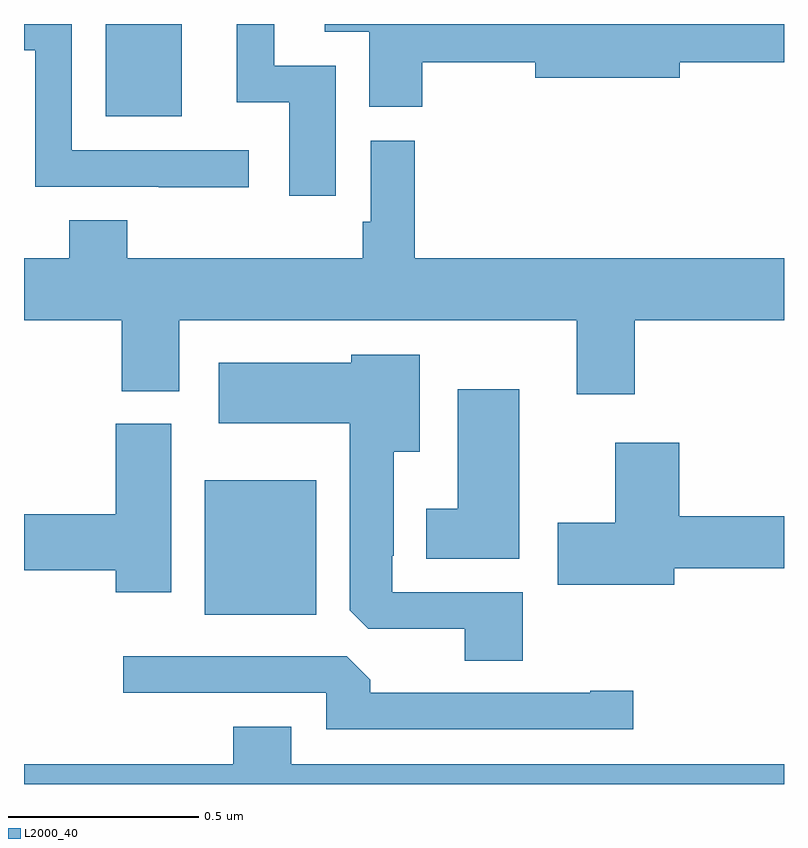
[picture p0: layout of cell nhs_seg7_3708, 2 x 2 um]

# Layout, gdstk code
import gdstk
lib = gdstk.Library(unit=1e-6, precision=1e-09)
def R(c, l, rs):  # rectangles x0, y0, x1, y1
    for r in rs: c.add(gdstk.rectangle(r[:2], r[2:], *l))
def P(c, l, *ps):  # polygons
    for p in ps: c.add(gdstk.Polygon(p, *l))
L2000_40 = (2000, 40)

nhs_seg7_3708 = lib.new_cell('nhs_seg7_3708')
R(nhs_seg7_3708, L2000_40, [(162.476,1062.446,162.769,1062.799), (162.215,1063.757,162.415,1064)])
P(nhs_seg7_3708, L2000_40, [(162.82,1063.89),(162.658,1063.89),(162.658,1064),(162.56,1064),(162.56,1063.794),(162.698,1063.794),(162.698,1063.548),(162.82,1063.548)],
  [(162.592,1063.668),(162.126,1063.668),(162.126,1064),(162,1064),(162,1063.931),(162.03,1063.931),(162.03,1063.572),(162.355,1063.572),(162.355,1063.571),(162.592,1063.571)],
  [(163.048,1063.9),(163.346,1063.9),(163.346,1063.858),(163.726,1063.858),(163.726,1063.9),(164,1063.9),(164,1064),(162.791,1064),(162.791,1063.979),(162.908,1063.979),(162.908,1063.782),(163.048,1063.782)],
  [(163.607,1063.22),(164,1063.22),(164,1063.384),(163.028,1063.384),(163.028,1063.693),(162.912,1063.693),(162.912,1063.48),(162.892,1063.48),(162.892,1063.384),(162.272,1063.384),(162.272,1063.483),(162.119,1063.483),(162.119,1063.384),(162,1063.384),(162,1063.22),(162.257,1063.22),(162.257,1063.033),(162.409,1063.033),(162.409,1063.22),(163.454,1063.22),(163.454,1063.026),(163.607,1063.026)],
  [(163.313,1062.504),(162.969,1062.504),(162.969,1062.601),(162.973,1062.601),(162.973,1062.875),(163.042,1062.875),(163.042,1063.129),(162.861,1063.129),(162.861,1063.108),(162.513,1063.108),(162.513,1062.95),(162.857,1062.95),(162.857,1062.457),(162.906,1062.408),(163.16,1062.408),(163.16,1062.325),(163.313,1062.325)],
  [(163.303,1063.039),(163.142,1063.039),(163.142,1062.724),(163.058,1062.724),(163.058,1062.593),(163.303,1062.593)],
  [(162.388,1062.948),(162.242,1062.948),(162.242,1062.71),(162,1062.71),(162,1062.563),(162.242,1062.563),(162.242,1062.504),(162.388,1062.504)],
  [(163.711,1062.568),(164,1062.568),(164,1062.704),(163.724,1062.704),(163.724,1062.898),(163.556,1062.898),(163.556,1062.687),(163.404,1062.687),(163.404,1062.524),(163.711,1062.524)],
  [(163.603,1062.245),(163.49,1062.245),(163.49,1062.24),(162.911,1062.24),(162.911,1062.274),(162.849,1062.336),(162.261,1062.336),(162.261,1062.24),(162.795,1062.24),(162.795,1062.144),(163.603,1062.144)],
  [(164,1062.052),(162.703,1062.052),(162.703,1062.151),(162.551,1062.151),(162.551,1062.052),(162,1062.052),(162,1062),(164,1062)])

lib.write_gds('nhs_seg7_3708.gds')
